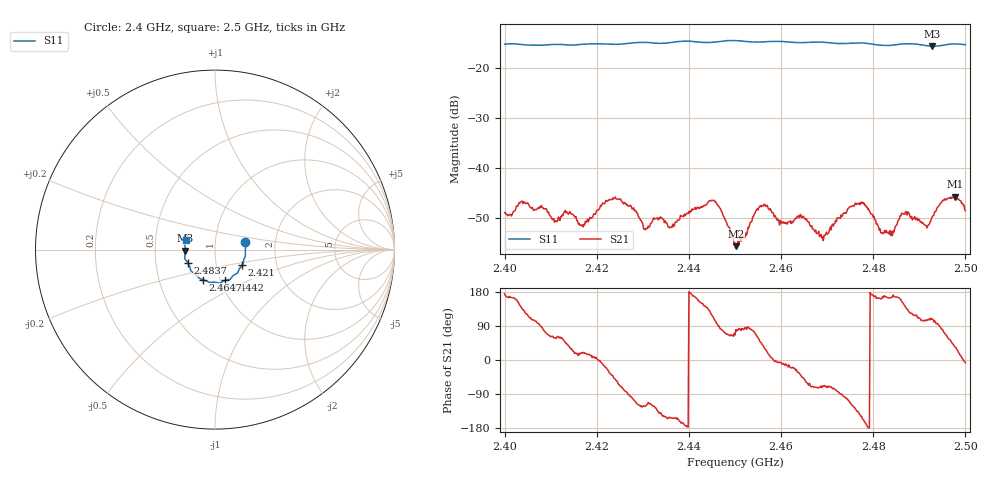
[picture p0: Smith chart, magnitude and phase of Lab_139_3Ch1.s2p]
# Hz S RI R 50
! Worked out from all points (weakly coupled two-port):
!   601 points, 2.4 GHz to 2.5 GHz, reference 50 ohm
!   highest |S21| = -45.72 dB at 2.4978 GHz (marker M1); lowest = -55.6 dB at 2.4502 GHz (marker M2)
!   lowest |S11| = -15.6 dB at 2.4928 GHz (marker M3), VSWR 1.40, Z = 35.8 - j0.385 ohm
!   |S11| at or under -10 dB: start of sweep to end of sweep
!   S12 and S22 are empty: the file has one direction only
!   S11 on the Smith chart (normalised r, x): 2.4 GHz: 1.40, +0.12; 2.421 GHz: 1.33, -0.24; 2.4442 GHz: 1.05, -0.37; 2.4647 GHz: 0.83, -0.29; 2.4837 GHz: 0.73, -0.11; 2.5 GHz: 0.72, +0.08
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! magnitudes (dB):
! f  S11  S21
! 2.4 GHz  -15.2  -48.9
! 2.404 GHz  -15.3  -47.1
! 2.4167 GHz  -15.3  -51.5
! 2.421 GHz  -15.2  -47.6
! 2.425 GHz  -15.2  -46.2
! 2.4307 GHz  -14.9  -52.1
! 2.4333 GHz  -15.1  -50.3
! 2.4363 GHz  -14.9  -51.8
! 2.4442 GHz  -14.9  -46.8
! 2.45 GHz  -14.5  -55.0
! 2.4502 GHz  -14.5  -55.6
! 2.4558 GHz  -14.8  -47.4
! 2.4647 GHz  -14.9  -49.7
! 2.4667 GHz  -14.8  -51.5
! 2.4693 GHz  -14.9  -53.4
! 2.4775 GHz  -15.0  -47.0
! 2.4833 GHz  -15.5  -52.8
! 2.4837 GHz  -15.5  -52.5
! 2.4867 GHz  -15.2  -49.2
! 2.4928 GHz  -15.6  -49.7
! 2.4978 GHz  -15.2  -45.7
! 2.5 GHz  -15.3  -48.5
